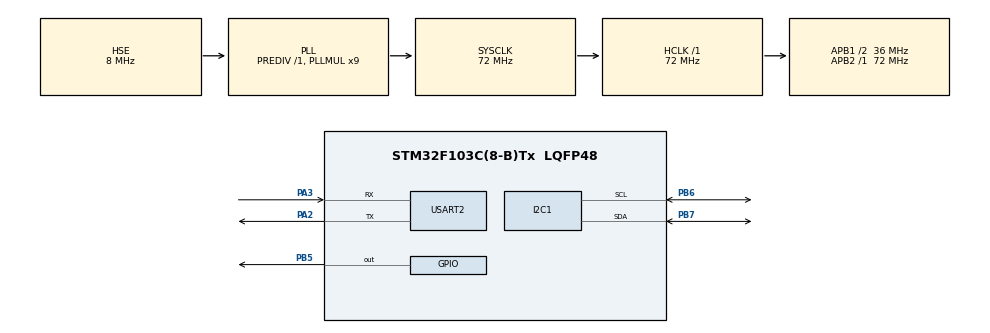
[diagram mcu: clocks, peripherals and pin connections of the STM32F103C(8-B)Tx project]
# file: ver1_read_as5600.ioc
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Mcu.Family=STM32F1
Mcu.Name=STM32F103C(8-B)Tx
Mcu.Package=LQFP48
NVIC.PriorityGroup=NVIC_PRIORITYGROUP_4
PA13.Mode=Serial_Wire
PA13.Signal=SYS_JTMS-SWDIO
PA14.Mode=Serial_Wire
PA14.Signal=SYS_JTCK-SWCLK
PA2.Mode=Asynchronous
PA2.Signal=USART2_TX
PA3.Mode=Asynchronous
PA3.Signal=USART2_RX
PB5.Signal=GPIO_Output
PB6.Mode=I2C
PB6.Signal=I2C1_SCL
PB7.Mode=I2C
PB7.Signal=I2C1_SDA
PD0-OSC_IN.Mode=HSE-External-Oscillator
PD0-OSC_IN.Signal=RCC_OSC_IN
PD1-OSC_OUT.Mode=HSE-External-Oscillator
PD1-OSC_OUT.Signal=RCC_OSC_OUT
ProjectManager.HeapSize=0x200
ProjectManager.StackSize=0x400
ProjectManager.TargetToolchain=MDK-ARM V5.32
RCC.AHBFreq_Value=72000000
RCC.APB1CLKDivider=RCC_HCLK_DIV2
RCC.APB1Freq_Value=36000000
RCC.APB1TimFreq_Value=72000000
RCC.APB2Freq_Value=72000000
RCC.APB2TimFreq_Value=72000000
RCC.HCLKFreq_Value=72000000
RCC.PLLMUL=RCC_PLL_MUL9
RCC.PLLSourceVirtual=RCC_PLLSOURCE_HSE
RCC.SYSCLKFreq_VALUE=72000000
RCC.SYSCLKSource=RCC_SYSCLKSOURCE_PLLCLK
RCC.USBFreq_Value=72000000
USART2.VirtualMode=VM_ASYNC
board=custom

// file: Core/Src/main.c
/* USER CODE BEGIN Header */
/**
  ******************************************************************************
  * @file           : main.c
  * @brief          : Main program body
  ******************************************************************************
  * @attention
  *
  * Copyright (c) 2025 STMicroelectronics.
  * All rights reserved.
  *
  * This software is licensed under terms that can be found in the LICENSE file
  * in the root directory of this software component.
  * If no LICENSE file comes with this software, it is provided AS-IS.
  *
  ******************************************************************************
  */
/* USER CODE END Header */
#include "main.h"

I2C_HandleTypeDef hi2c1;

UART_HandleTypeDef huart2;

void SystemClock_Config(void);
static void MX_GPIO_Init(void);
static void MX_I2C1_Init(void);
static void MX_USART2_UART_Init(void);

/* USER CODE BEGIN 0 */

#define	as5600_address	0x36<<1
#define STATUS_REG			0x0B
#define Raw_angle_1			0x0C
#define Raw_angle_2			0x0D
uint8_t check;
uint8_t angle_1;
uint8_t angle_2;
float angle;

float read_angle(){
	int raw_angle;
	HAL_I2C_Mem_Read(&hi2c1, as5600_address, STATUS_REG, 1, &check, 1, 1000);
	HAL_I2C_Mem_Read(&hi2c1, as5600_address, Raw_angle_1, 1, &angle_1, 1, 1000);
	HAL_I2C_Mem_Read(&hi2c1, as5600_address, Raw_angle_2, 1, &angle_2, 1, 1000);
	HAL_Delay(100);
	raw_angle = ((angle_1 << 8) | angle_2) & 0x0FFF;
	float angle_deg = (raw_angle * 360.0f) / 4096.0f;
	return angle_deg;
}

/* USER CODE END 0 */

int main(void)
{

  /* MCU Configuration--------------------------------------------------------*/

  /* Reset of all peripherals, Initializes the Flash interface and the Systick. */
  HAL_Init();

  /* Configure the system clock */
  SystemClock_Config();

  /* Initialize all configured peripherals */
  MX_GPIO_Init();
  MX_I2C1_Init();
  MX_USART2_UART_Init();

  /* Infinite loop */
  while (1)
  {

    /* USER CODE BEGIN 3 */
		angle = read_angle();
  }
  /* USER CODE END 3 */
}

void SystemClock_Config(void)
{
  RCC_OscInitTypeDef RCC_OscInitStruct = {0};
  RCC_ClkInitTypeDef RCC_ClkInitStruct = {0};

  /** Initializes the RCC Oscillators according to the specified parameters
  * in the RCC_OscInitTypeDef structure.
  */
  RCC_OscInitStruct.OscillatorType = RCC_OSCILLATORTYPE_HSE;
  RCC_OscInitStruct.HSEState = RCC_HSE_ON;
  RCC_OscInitStruct.HSEPredivValue = RCC_HSE_PREDIV_DIV1;
  RCC_OscInitStruct.HSIState = RCC_HSI_ON;
  RCC_OscInitStruct.PLL.PLLState = RCC_PLL_ON;
  RCC_OscInitStruct.PLL.PLLSource = RCC_PLLSOURCE_HSE;
  RCC_OscInitStruct.PLL.PLLMUL = RCC_PLL_MUL9;
  if (HAL_RCC_OscConfig(&RCC_OscInitStruct) != HAL_OK)
  {
    Error_Handler();
  }

  /** Initializes the CPU, AHB and APB buses clocks
  */
  RCC_ClkInitStruct.ClockType = RCC_CLOCKTYPE_HCLK|RCC_CLOCKTYPE_SYSCLK
                              |RCC_CLOCKTYPE_PCLK1|RCC_CLOCKTYPE_PCLK2;
  RCC_ClkInitStruct.SYSCLKSource = RCC_SYSCLKSOURCE_PLLCLK;
  RCC_ClkInitStruct.AHBCLKDivider = RCC_SYSCLK_DIV1;
  RCC_ClkInitStruct.APB1CLKDivider = RCC_HCLK_DIV2;
  RCC_ClkInitStruct.APB2CLKDivider = RCC_HCLK_DIV1;

  if (HAL_RCC_ClockConfig(&RCC_ClkInitStruct, FLASH_LATENCY_2) != HAL_OK)
  {
    Error_Handler();
  }
}

static void MX_I2C1_Init(void)
{

  hi2c1.Instance = I2C1;
  hi2c1.Init.ClockSpeed = 100000;
  hi2c1.Init.DutyCycle = I2C_DUTYCYCLE_2;
  hi2c1.Init.OwnAddress1 = 0;
  hi2c1.Init.AddressingMode = I2C_ADDRESSINGMODE_7BIT;
  hi2c1.Init.DualAddressMode = I2C_DUALADDRESS_DISABLE;
  hi2c1.Init.OwnAddress2 = 0;
  hi2c1.Init.GeneralCallMode = I2C_GENERALCALL_DISABLE;
  hi2c1.Init.NoStretchMode = I2C_NOSTRETCH_DISABLE;
  if (HAL_I2C_Init(&hi2c1) != HAL_OK)
  {
    Error_Handler();
  }

}

static void MX_USART2_UART_Init(void)
{

  huart2.Instance = USART2;
  huart2.Init.BaudRate = 115200;
  huart2.Init.WordLength = UART_WORDLENGTH_8B;
  huart2.Init.StopBits = UART_STOPBITS_1;
  huart2.Init.Parity = UART_PARITY_NONE;
  huart2.Init.Mode = UART_MODE_TX_RX;
  huart2.Init.HwFlowCtl = UART_HWCONTROL_NONE;
  huart2.Init.OverSampling = UART_OVERSAMPLING_16;
  if (HAL_UART_Init(&huart2) != HAL_OK)
  {
    Error_Handler();
  }

}

static void MX_GPIO_Init(void)
{
  GPIO_InitTypeDef GPIO_InitStruct = {0};

  /* GPIO Ports Clock Enable */
  __HAL_RCC_GPIOD_CLK_ENABLE();
  __HAL_RCC_GPIOA_CLK_ENABLE();
  __HAL_RCC_GPIOB_CLK_ENABLE();

  /*Configure GPIO pin Output Level */
  HAL_GPIO_WritePin(GPIOB, GPIO_PIN_5, GPIO_PIN_RESET);

  /*Configure GPIO pin : PB5 */
  GPIO_InitStruct.Pin = GPIO_PIN_5;
  GPIO_InitStruct.Mode = GPIO_MODE_OUTPUT_PP;
  GPIO_InitStruct.Pull = GPIO_NOPULL;
  GPIO_InitStruct.Speed = GPIO_SPEED_FREQ_LOW;
  HAL_GPIO_Init(GPIOB, &GPIO_InitStruct);

}

void Error_Handler(void)
{
  __disable_irq();
  while (1)
  {
  }
}
